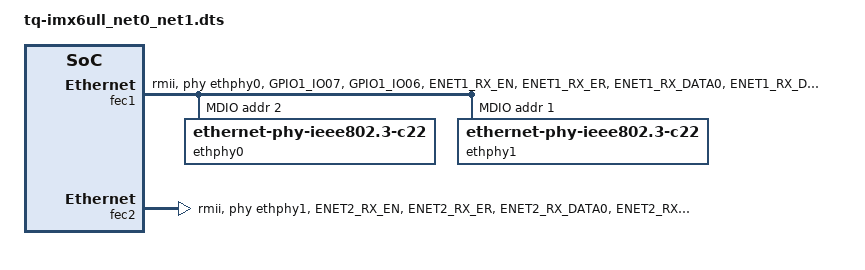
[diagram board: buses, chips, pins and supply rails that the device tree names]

#include "tq-imx6ull.dts"

&iomuxc {
	imx6ul-evk {
		pinctrl_enet1: enet1grp {
			fsl,pins = <
				MX6UL_PAD_GPIO1_IO07__ENET1_MDC		0x1b0b0
				//MX6UL_PAD_GPIO1_IO07__GPIO1_IO07		0x1b0b0
				MX6UL_PAD_GPIO1_IO06__ENET1_MDIO	0x1b0b0

				MX6UL_PAD_ENET1_RX_EN__ENET1_RX_EN	0x1b0b0
				MX6UL_PAD_ENET1_RX_ER__ENET1_RX_ER	0x1b0b0
				MX6UL_PAD_ENET1_RX_DATA0__ENET1_RDATA00	0x1b0b0
				MX6UL_PAD_ENET1_RX_DATA1__ENET1_RDATA01	0x1b0b0
				MX6UL_PAD_ENET1_TX_EN__ENET1_TX_EN	0x1b0b0
				MX6UL_PAD_ENET1_TX_DATA0__ENET1_TDATA00	0x1b0b0
				MX6UL_PAD_ENET1_TX_DATA1__ENET1_TDATA01	0x1b0b0
				MX6UL_PAD_ENET1_TX_CLK__ENET1_REF_CLK1	0x4001b031
			>;
		};

		pinctrl_enet2: enet2grp {
			fsl,pins = <
//				MX6UL_PAD_GPIO1_IO07__ENET2_MDC		0x1b0b0
//				MX6UL_PAD_GPIO1_IO06__ENET2_MDIO	0x1b0b0

				MX6UL_PAD_ENET2_RX_EN__ENET2_RX_EN	0x1b0b0
				MX6UL_PAD_ENET2_RX_ER__ENET2_RX_ER	0x1b0b0
				MX6UL_PAD_ENET2_RX_DATA0__ENET2_RDATA00	0x1b0b0
				MX6UL_PAD_ENET2_RX_DATA1__ENET2_RDATA01	0x1b0b0
				MX6UL_PAD_ENET2_TX_EN__ENET2_TX_EN	0x1b0b0
				MX6UL_PAD_ENET2_TX_DATA0__ENET2_TDATA00	0x1b0b0
				MX6UL_PAD_ENET2_TX_DATA1__ENET2_TDATA01	0x1b0b0
				MX6UL_PAD_ENET2_TX_CLK__ENET2_REF_CLK2	0x4001b031
				MX6ULL_PAD_SNVS_TAMPER0__GPIO5_IO00   	0x80000000 	//ext_pin21 
			>;
		};
	};
};


&fec1 {
	pinctrl-names = "default";
	pinctrl-0 = <&pinctrl_enet1>;
	phy-mode = "rmii";
	phy-handle = <&ethphy0>;
	status = "okay";

	mdio {
		#address-cells = <1>;
		#size-cells = <0>;

		ethphy0: ethernet-phy@2 {
			compatible = "ethernet-phy-ieee802.3-c22";
			reg = <2>;
		};

		ethphy1: ethernet-phy@1 {
			compatible = "ethernet-phy-ieee802.3-c22";
			reg = <1>;
		};
	};

};

&fec2 {
	pinctrl-names = "default";
	pinctrl-0 = <&pinctrl_enet2>;
	phy-mode = "rmii";
	phy-handle = <&ethphy1>;
	status = "ok";
};
